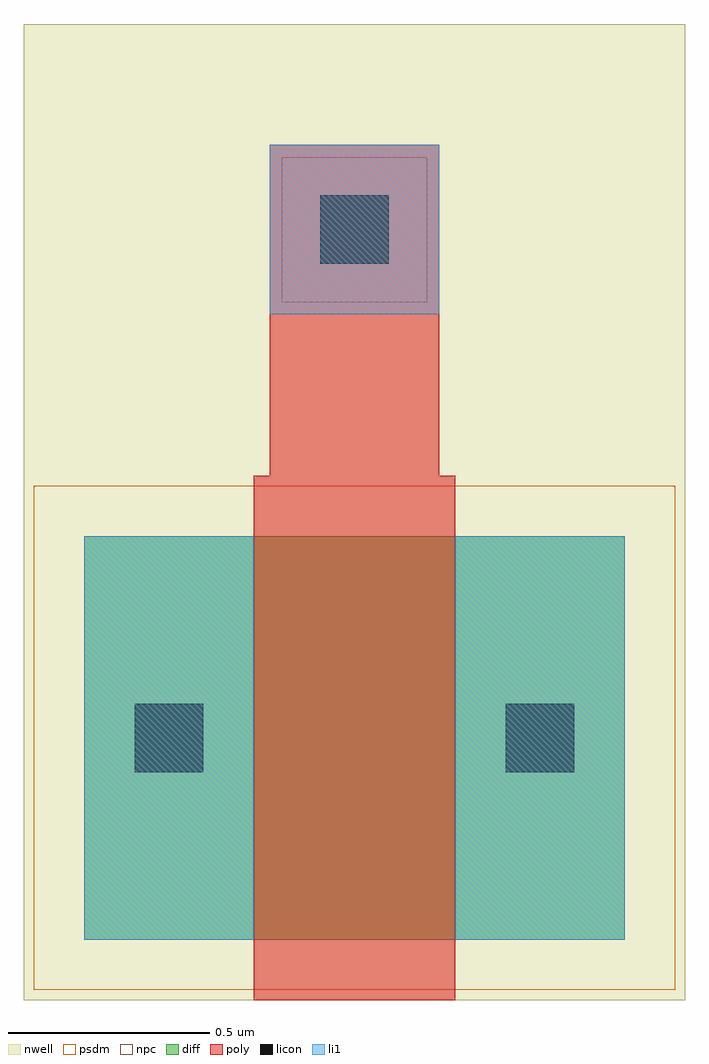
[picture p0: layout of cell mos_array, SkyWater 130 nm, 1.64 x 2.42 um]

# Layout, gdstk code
import gdstk
lib = gdstk.Library(unit=1e-6, precision=1e-09)
def R(c, l, rs):  # rectangles x0, y0, x1, y1
    for r in rs: c.add(gdstk.rectangle(r[:2], r[2:], *l))
nwell = (64, 20)
diff = (65, 20)
poly = (66, 20)
licon = (66, 44)
li1 = (67, 20)
psdm = (94, 20)
npc = (95, 20)

mos_array = lib.new_cell('mos_array')
R(mos_array, nwell, [(-0.15,-0.15,1.49,2.27)])
R(mos_array, diff, [(0,0,1.34,1)])
R(mos_array, poly, [(0.42,-0.15,0.92,1), (0.42,1,0.92,1.15), (0.42,1,0.92,1.15), (0.46,1.15,0.88,1.97)])
R(mos_array, licon, [(0.125,0.415,0.295,0.585), (1.045,0.415,1.215,0.585), (0.585,1.675,0.755,1.845)])
R(mos_array, li1, [(0,0,0.42,1), (0.92,0,1.34,1), (0.46,1.55,0.88,1.97)])
R(mos_array, psdm, [(-0.125,-0.125,1.465,1.125)])
R(mos_array, npc, [(0.49,1.58,0.85,1.94)])

lib.write_gds('mos_array.gds')
